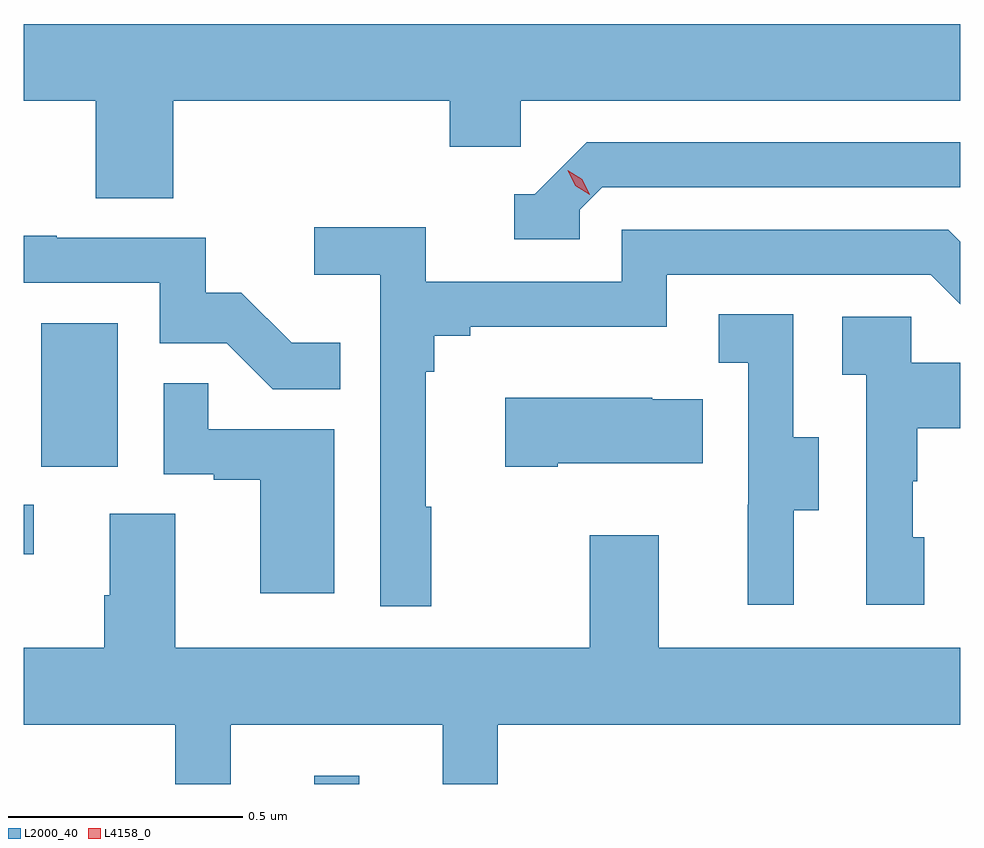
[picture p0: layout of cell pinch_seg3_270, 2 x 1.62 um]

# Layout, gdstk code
import gdstk
lib = gdstk.Library(unit=1e-6, precision=1e-09)
def R(c, l, rs):  # rectangles x0, y0, x1, y1
    for r in rs: c.add(gdstk.rectangle(r[:2], r[2:], *l))
def P(c, l, *ps):  # polygons
    for p in ps: c.add(gdstk.Polygon(p, *l))
L2000_40 = (2000, 40)
L4158_0 = (4158, 0)

pinch_seg3_270 = lib.new_cell('pinch_seg3_270')
R(pinch_seg3_270, L2000_40, [(913.377,726.097,913.474,726.115), (912.757,726.588,912.778,726.693), (912.794,726.774,912.958,727.081)])
P(pinch_seg3_270, L2000_40, [(913.076,727.556),(913.667,727.556),(913.667,727.458),(913.818,727.458),(913.818,727.556),(914.757,727.556),(914.757,727.72),(912.757,727.72),(912.757,727.556),(912.911,727.556),(912.911,727.348),(913.076,727.348)],
  [(913.944,727.323),(913.992,727.371),(914.757,727.371),(914.757,727.467),(913.959,727.467),(913.848,727.356),(913.805,727.356),(913.805,727.26),(913.944,727.26)],
  [(913.627,726.689),(913.615,726.689),(913.615,726.977),(913.634,726.977),(913.634,727.054),(913.711,727.054),(913.711,727.073),(914.13,727.073),(914.13,727.185),(914.694,727.185),(914.757,727.122),(914.757,727.255),(914.731,727.281),(914.034,727.281),(914.034,727.17),(913.616,727.17),(913.616,727.286),(913.377,727.286),(913.377,727.184),(913.518,727.184),(913.518,726.477),(913.627,726.477)],
  [(913.433,727.039),(913.329,727.039),(913.222,727.146),(913.146,727.146),(913.146,727.263),(912.827,727.263),(912.827,727.268),(912.757,727.268),(912.757,727.167),(913.047,727.167),(913.047,727.038),(913.191,727.038),(913.289,726.94),(913.433,726.94)],
  [(914.401,726.682),(914.455,726.682),(914.455,726.837),(914.4,726.837),(914.4,727.1),(914.241,727.1),(914.241,726.997),(914.304,726.997),(914.304,726.693),(914.303,726.693),(914.303,726.48),(914.401,726.48)],
  [(914.68,726.624),(914.655,726.624),(914.655,726.743),(914.665,726.743),(914.665,726.857),(914.757,726.857),(914.757,726.997),(914.652,726.997),(914.652,727.095),(914.505,727.095),(914.505,726.971),(914.556,726.971),(914.556,726.48),(914.68,726.48)],
  [(913.42,726.855),(913.151,726.855),(913.151,726.953),(913.056,726.953),(913.056,726.759),(913.163,726.759),(913.163,726.747),(913.262,726.747),(913.262,726.504),(913.42,726.504)],
  [(913.897,726.782),(914.207,726.782),(914.207,726.919),(914.099,726.919),(914.099,726.922),(913.785,726.922),(913.785,726.775),(913.897,726.775)],
  [(913.199,726.224),(913.652,726.224),(913.652,726.097),(913.769,726.097),(913.769,726.224),(914.757,726.224),(914.757,726.388),(914.113,726.388),(914.113,726.628),(913.966,726.628),(913.966,726.388),(913.081,726.388),(913.081,726.674),(912.941,726.674),(912.941,726.5),(912.929,726.5),(912.929,726.388),(912.757,726.388),(912.757,726.224),(913.081,726.224),(913.081,726.097),(913.199,726.097)])
P(pinch_seg3_270, L4158_0, [(913.966,727.355),(913.935,727.375),(913.919,727.407),(913.919,727.408),(913.919,727.408),(913.95,727.388),(913.966,727.356),(913.966,727.355)])

lib.write_gds('pinch_seg3_270.gds')
